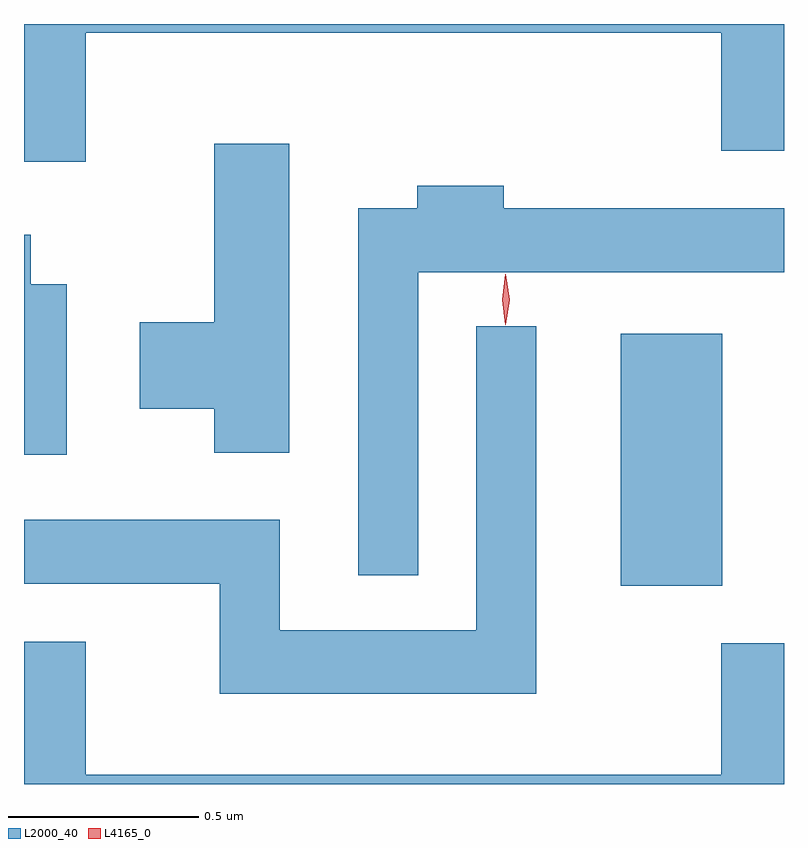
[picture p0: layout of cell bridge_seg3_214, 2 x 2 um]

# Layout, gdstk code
import gdstk
lib = gdstk.Library(unit=1e-6, precision=1e-09)
def R(c, l, rs):  # rectangles x0, y0, x1, y1
    for r in rs: c.add(gdstk.rectangle(r[:2], r[2:], *l))
def P(c, l, *ps):  # polygons
    for p in ps: c.add(gdstk.Polygon(p, *l))
L2000_40 = (2000, 40)
L4165_0 = (4165, 0)

bridge_seg3_214 = lib.new_cell('bridge_seg3_214')
R(bridge_seg3_214, L2000_40, [(937.126,1155.641,937.394,1156.304)])
P(bridge_seg3_214, L2000_40, [(935.719,1157.096),(937.391,1157.096),(937.391,1156.786),(937.556,1156.786),(937.556,1157.119),(935.556,1157.119),(935.556,1156.756),(935.719,1156.756)],
  [(936.254,1156.804),(936.056,1156.804),(936.056,1156.334),(935.861,1156.334),(935.861,1156.106),(936.056,1156.106),(936.056,1155.991),(936.254,1155.991)],
  [(936.594,1156.466),(937.556,1156.466),(937.556,1156.634),(936.819,1156.634),(936.819,1156.694),(936.591,1156.694),(936.591,1156.634),(936.436,1156.634),(936.436,1155.668),(936.594,1155.668)],
  [(935.669,1156.434),(935.574,1156.434),(935.574,1156.564),(935.556,1156.564),(935.556,1155.986),(935.669,1155.986)],
  [(936.904,1156.323),(936.746,1156.323),(936.746,1155.524),(936.229,1155.524),(936.229,1155.814),(935.556,1155.814),(935.556,1155.646),(936.071,1155.646),(936.071,1155.356),(936.904,1155.356)],
  [(937.556,1155.489),(937.391,1155.489),(937.391,1155.144),(935.719,1155.144),(935.719,1155.494),(935.556,1155.494),(935.556,1155.119),(937.556,1155.119)])
P(bridge_seg3_214, L4165_0, [(936.824,1156.327),(936.823,1156.328),(936.814,1156.394),(936.823,1156.46),(936.823,1156.46),(936.824,1156.46),(936.834,1156.394),(936.824,1156.328)])

lib.write_gds('bridge_seg3_214.gds')
